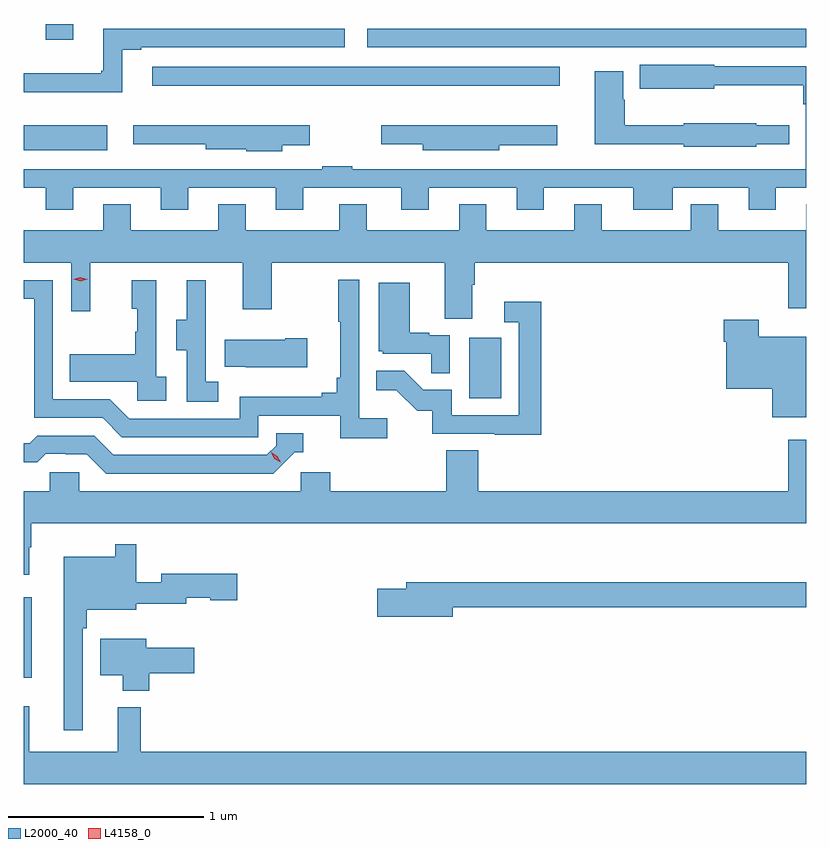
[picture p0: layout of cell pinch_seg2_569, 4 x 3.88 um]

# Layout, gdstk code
import gdstk
lib = gdstk.Library(unit=1e-6, precision=1e-09)
def R(c, l, rs):  # rectangles x0, y0, x1, y1
    for r in rs: c.add(gdstk.rectangle(r[:2], r[2:], *l))
def P(c, l, *ps):  # polygons
    for p in ps: c.add(gdstk.Polygon(p, *l))
L2000_40 = (2000, 40)
L4158_0 = (4158, 0)

pinch_seg2_569 = lib.new_cell('pinch_seg2_569')
R(pinch_seg2_569, L2000_40, [(1117.02,620.207,1117.063,620.617), (1119.296,621.636,1119.46,621.943), (1117.02,622.901,1117.447,623.029), (1117.677,623.231,1119.76,623.328), (1118.775,623.427,1121.02,623.524), (1117.133,623.466,1117.273,623.547)])
P(pinch_seg2_569, L2000_40, [(1117.525,623.415),(1117.621,623.415),(1117.621,623.427),(1118.662,623.427),(1118.662,623.524),(1117.427,623.524),(1117.427,623.308),(1117.416,623.308),(1117.416,623.296),(1117.02,623.296),(1117.02,623.198),(1117.525,623.198)],
  [(1117.273,622.71),(1117.721,622.71),(1117.721,622.598),(1117.861,622.598),(1117.861,622.71),(1118.309,622.71),(1118.309,622.598),(1118.449,622.598),(1118.449,622.71),(1118.951,622.71),(1118.951,622.598),(1119.091,622.598),(1119.091,622.71),(1119.539,622.71),(1119.539,622.598),(1119.679,622.598),(1119.679,622.71),(1120.136,622.71),(1120.136,622.598),(1120.336,622.598),(1120.336,622.71),(1120.724,622.71),(1120.724,622.598),(1120.864,622.598),(1120.864,622.71),(1121.02,622.71),(1121.02,623.331),(1120.548,623.331),(1120.548,623.338),(1120.169,623.338),(1120.169,623.216),(1120.548,623.216),(1120.548,623.234),(1121.004,623.234),(1121.004,623.138),(1121.016,623.138),(1121.016,622.806),(1118.7,622.806),(1118.7,622.819),(1118.545,622.819),(1118.545,622.806),(1117.02,622.806),(1117.02,622.71),(1117.133,622.71),(1117.133,622.598),(1117.273,622.598)],
  [(1120.764,622.932),(1120.931,622.932),(1120.931,623.03),(1120.764,623.03),(1120.764,623.041),(1120.392,623.041),(1120.392,623.03),(1120.092,623.03),(1120.092,623.159),(1120.084,623.159),(1120.084,623.305),(1119.938,623.305),(1119.938,622.932),(1120.392,622.932),(1120.392,622.919),(1120.764,622.919)],
  [(1119.45,622.928),(1119.748,622.928),(1119.748,623.029),(1119.16,623.029),(1119.16,623.03),(1118.847,623.03),(1118.847,622.932),(1119.06,622.932),(1119.06,622.901),(1119.45,622.901)],
  [(1118.341,622.928),(1118.482,622.928),(1118.482,623.029),(1118.05,623.029),(1118.05,623.03),(1117.581,623.03),(1117.581,622.932),(1117.95,622.932),(1117.95,622.907),(1118.157,622.907),(1118.157,622.898),(1118.341,622.898)],
  [(1119.313,622.216),(1119.326,622.216),(1119.326,622.328),(1120.927,622.328),(1120.927,622.095),(1121.02,622.095),(1121.02,622.625),(1121.018,622.625),(1121.018,622.492),(1120.57,622.492),(1120.57,622.625),(1120.43,622.625),(1120.43,622.492),(1119.973,622.492),(1119.973,622.625),(1119.833,622.625),(1119.833,622.492),(1119.385,622.492),(1119.385,622.625),(1119.245,622.625),(1119.245,622.492),(1118.773,622.492),(1118.773,622.625),(1118.633,622.625),(1118.633,622.492),(1118.155,622.492),(1118.155,622.625),(1118.015,622.625),(1118.015,622.492),(1117.567,622.492),(1117.567,622.625),(1117.427,622.625),(1117.427,622.492),(1117.02,622.492),(1117.02,622.328),(1117.263,622.328),(1117.263,622.08),(1117.361,622.08),(1117.361,622.328),(1118.141,622.328),(1118.141,622.089),(1118.289,622.089),(1118.289,622.328),(1119.173,622.328),(1119.173,622.042),(1119.313,622.042)],
  [(1118.878,621.532),(1118.736,621.532),(1118.736,622.24),(1118.628,622.24),(1118.628,622.027),(1118.639,622.027),(1118.639,621.739),(1118.62,621.739),(1118.62,621.662),(1118.543,621.662),(1118.543,621.643),(1118.124,621.643),(1118.124,621.531),(1117.56,621.531),(1117.461,621.63),(1117.17,621.63),(1117.17,622.239),(1117.02,622.239),(1117.02,622.143),(1117.074,622.143),(1117.074,621.534),(1117.424,621.534),(1117.523,621.435),(1118.22,621.435),(1118.22,621.546),(1118.639,621.546),(1118.639,621.43),(1118.878,621.43)],
  [(1118.014,621.719),(1117.95,621.719),(1117.95,622.023),(1117.952,622.023),(1117.952,622.237),(1117.853,622.237),(1117.853,622.035),(1117.799,622.035),(1117.799,621.88),(1117.854,621.88),(1117.854,621.616),(1118.014,621.616)],
  [(1117.75,621.746),(1117.698,621.746),(1117.698,622.237),(1117.574,622.237),(1117.574,622.092),(1117.6,622.092),(1117.6,621.974),(1117.59,621.974),(1117.59,621.859),(1117.255,621.859),(1117.255,621.719),(1117.602,621.719),(1117.602,621.621),(1117.75,621.621)],
  [(1119.198,621.957),(1119.092,621.957),(1119.092,621.97),(1118.992,621.97),(1118.992,622.225),(1118.834,622.225),(1118.834,621.876),(1118.856,621.876),(1118.856,621.861),(1119.103,621.861),(1119.103,621.763),(1119.198,621.763)],
  [(1119.665,622.129),(1119.477,622.129),(1119.477,622.023),(1119.549,622.023),(1119.549,621.549),(1119.207,621.549),(1119.207,621.678),(1119.063,621.678),(1118.965,621.776),(1118.821,621.776),(1118.821,621.677),(1118.925,621.677),(1119.032,621.57),(1119.109,621.57),(1119.109,621.453),(1119.427,621.453),(1119.427,621.448),(1119.665,621.448)],
  [(1121.02,621.949),(1120.776,621.949),(1120.776,622.036),(1120.598,622.036),(1120.598,621.923),(1120.61,621.923),(1120.61,621.683),(1120.844,621.683),(1120.844,621.539),(1121.02,621.539)],
  [(1118.47,621.942),(1118.357,621.942),(1118.357,621.934),(1118.047,621.934),(1118.047,621.797),(1118.155,621.797),(1118.155,621.794),(1118.47,621.794)],
  [(1118.406,621.36),(1118.449,621.36),(1118.449,621.456),(1118.31,621.456),(1118.31,621.393),(1118.262,621.345),(1117.479,621.345),(1117.38,621.444),(1117.091,621.444),(1117.052,621.405),(1117.02,621.405),(1117.02,621.309),(1117.091,621.309),(1117.133,621.351),(1117.236,621.351),(1117.236,621.348),(1117.343,621.348),(1117.442,621.249),(1118.295,621.249)],
  [(1117.048,620.873),(1117.06,620.873),(1117.06,620.996),(1121.02,620.996),(1121.02,621.424),(1120.927,621.424),(1120.927,621.16),(1119.344,621.16),(1119.344,621.368),(1119.179,621.368),(1119.179,621.16),(1118.588,621.16),(1118.588,621.258),(1118.436,621.258),(1118.436,621.16),(1117.305,621.16),(1117.305,621.258),(1117.155,621.258),(1117.155,621.16),(1117.02,621.16),(1117.02,620.733),(1117.048,620.733)],
  [(1117.323,620.459),(1117.343,620.459),(1117.343,620.555),(1117.597,620.555),(1117.597,620.584),(1117.852,620.584),(1117.852,620.615),(1117.974,620.615),(1117.974,620.603),(1118.113,620.603),(1118.113,620.737),(1117.724,620.737),(1117.724,620.695),(1117.596,620.695),(1117.596,620.89),(1117.488,620.89),(1117.488,620.824),(1117.226,620.824),(1117.226,619.938),(1117.323,619.938)],
  [(1119.214,620.566),(1121.02,620.566),(1121.02,620.695),(1118.975,620.695),(1118.975,620.661),(1118.826,620.661),(1118.826,620.519),(1119.214,620.519)],
  [(1117.661,620.23),(1117.891,620.23),(1117.891,620.359),(1117.648,620.359),(1117.648,620.407),(1117.412,620.407),(1117.412,620.219),(1117.526,620.219),(1117.526,620.141),(1117.661,620.141)],
  [(1121.02,619.828),(1117.619,619.828),(1117.619,620.056),(1117.502,620.056),(1117.502,619.828),(1117.049,619.828),(1117.049,620.062),(1117.02,620.062),(1117.02,619.664),(1121.02,619.664)])
P(pinch_seg2_569, L4158_0, [(1118.333,621.307),(1118.302,621.326),(1118.285,621.358),(1118.285,621.358),(1118.285,621.358),(1118.316,621.339),(1118.333,621.307),(1118.333,621.307)],
  [(1117.311,622.233),(1117.275,622.242),(1117.274,622.243),(1117.275,622.243),(1117.31,622.253),(1117.346,622.244),(1117.347,622.244),(1117.346,622.244)])

lib.write_gds('pinch_seg2_569.gds')
